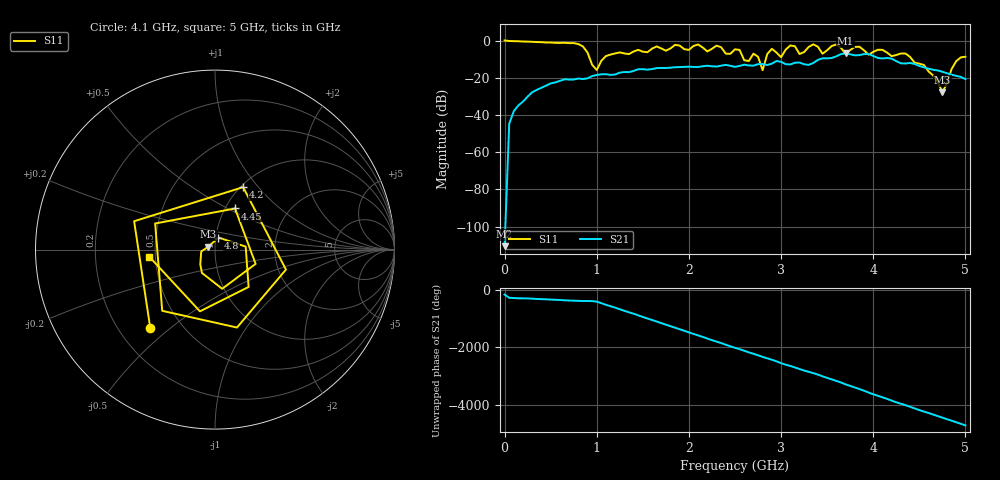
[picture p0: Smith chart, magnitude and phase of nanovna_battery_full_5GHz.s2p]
! NanoVNA-App
! Date: 2025-01-28 12:16:54
! Start: 50kHz Stop: 5GHz Points: 101
! S-Parameter data: F S11 S21 S12 S22
# Hz S RI R 50
!  Frequency  S11_Real  S11_Imag  S21_Real  S21_Imag  S12_Real  S12_Imag  S22_Real  S22_Imag
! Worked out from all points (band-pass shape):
!   101 points, 50 kHz to 5 GHz, reference 50 ohm
!   highest |S21| = -6.83 dB at 3.7 GHz (marker M1); lowest = -110.6 dB at 50 kHz (marker M2)
!   |S21| within 3 dB of the highest: 3.43 GHz to 4.205 GHz (775.2 MHz wide, 20.3 % of centre)
!   lowest |S11| = -27.7 dB at 4.75 GHz (marker M3), VSWR 1.09, Z = 46.3 + j1.45 ohm
!   |S11| at or under -10 dB: 927.2 MHz to 1.066 GHz (139.3 MHz wide, 14 % of centre); 2.595 GHz to 2.662 GHz (66.91 MHz wide, 2.55 % of centre); 4.42 GHz to 4.926 GHz (506.2 MHz wide, 10.8 % of centre) (the widest 3 of 4)
!   S12 and S22 are empty: the file has one direction only
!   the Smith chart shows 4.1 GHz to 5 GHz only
!   S11 on the Smith chart (normalised r, x): 4.1 GHz: 0.33, -0.43; 4.2 GHz: 1.03, +0.84; 4.45 GHz: 1.11, +0.54; 4.8 GHz: 1.03, +0.14; 5 GHz: 0.46, -0.04
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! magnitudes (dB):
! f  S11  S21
! 50 kHz  0.1  -110.6
! 50.05 MHz  -0.2  -44.7
! 100 MHz  -0.3  -37.9
! 500 MHz  -1.0  -23.0
! 850 MHz  -3.1  -20.7
! 1 GHz  -15.8  -18.5
! 1.1 GHz  -8.3  -18.1
! 1.7 GHz  -4.2  -14.7
! 2.5 GHz  -4.6  -14.1
! 2.75 GHz  -8.7  -12.7
! 2.8 GHz  -15.9  -12.6
! 2.9 GHz  -4.4  -12.4
! 3 GHz  -8.9  -11.4
! 3.35 GHz  -2.0  -12.0
! 3.7 GHz  -7.0  -6.8
! 4.1 GHz  -4.9  -9.6
! 4.2 GHz  -8.4  -9.7
! 4.45 GHz  -11.9  -12.6
! 4.75 GHz  -27.7  -16.7
! 4.8 GHz  -23.1  -17.5
! 4.9 GHz  -11.1  -18.9
! 5 GHz  -8.7  -20.7
